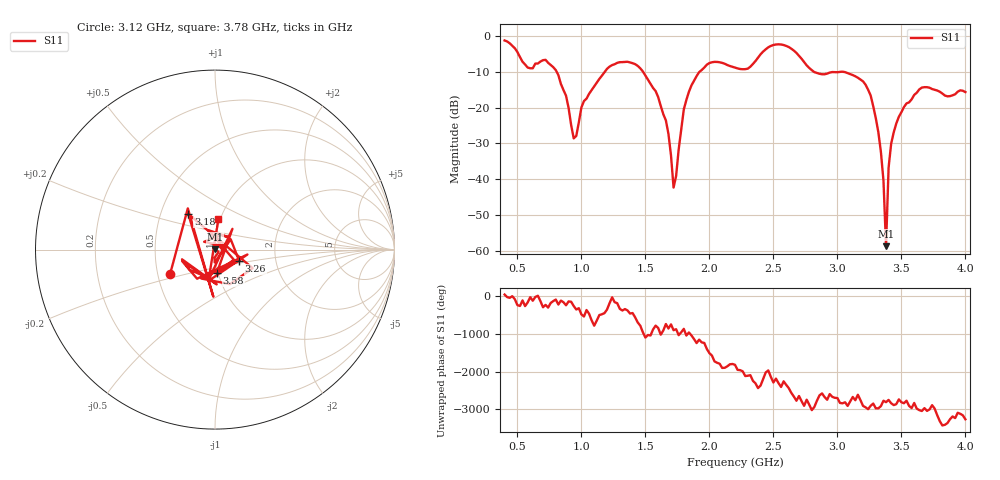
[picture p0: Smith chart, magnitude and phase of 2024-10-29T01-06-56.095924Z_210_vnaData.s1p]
!Created with skrf (http://scikit-rf.org).
# Hz S RI R 50.0
!freq ReS11 ImS11
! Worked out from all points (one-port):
!   181 points, 400 MHz to 4 GHz, reference 50 ohm
!   lowest |S11| = -58.7 dB at 3.38 GHz (marker M1), VSWR 1.00, Z = 50 + j0.11 ohm
!   |S11| at or under -10 dB: 807.4 MHz to 1.182 GHz (374.1 MHz wide, 37.6 % of centre); 1.483 GHz to 1.921 GHz (438.4 MHz wide, 25.8 % of centre); 3.053 GHz to end of sweep (the widest 3 of 4)
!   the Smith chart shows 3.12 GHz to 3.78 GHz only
!   S11 on the Smith chart (normalised r, x): 3.12 GHz: 0.58, -0.17; 3.18 GHz: 0.69, +0.29; 3.26 GHz: 1.30, -0.17; 3.58 GHz: 0.99, -0.26; 3.78 GHz: 0.98, +0.35
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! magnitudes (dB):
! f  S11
! 400 MHz  -1.2
! 580 MHz  -8.8
! 720 MHz  -6.6
! 860 MHz  -15.1
! 940 MHz  -28.6
! 1.02 GHz  -18.1
! 1.3 GHz  -7.3
! 1.58 GHz  -15.3
! 1.68 GHz  -27.3
! 1.72 GHz  -42.3
! 1.76 GHz  -31.6
! 1.8 GHz  -20.5
! 1.92 GHz  -10.0
! 2.2 GHz  -8.8
! 2.66 GHz  -4.0
! 3.1 GHz  -10.6
! 3.12 GHz  -10.9
! 3.18 GHz  -12.1
! 3.26 GHz  -16.6
! 3.34 GHz  -32.4
! 3.36 GHz  -40.4
! 3.38 GHz  -58.7
! 3.4 GHz  -36.7
! 3.42 GHz  -30.1
! 3.56 GHz  -18.5
! 3.58 GHz  -17.6
! 3.78 GHz  -15.2
! 4 GHz  -15.6
